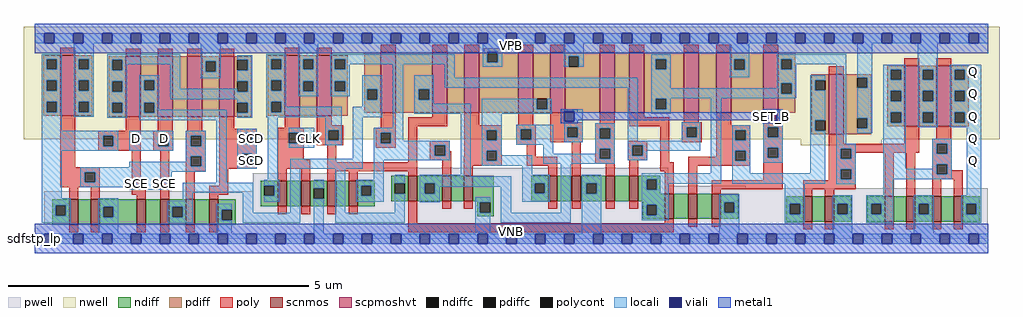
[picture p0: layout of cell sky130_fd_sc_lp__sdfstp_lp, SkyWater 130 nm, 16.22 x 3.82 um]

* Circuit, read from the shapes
.subckt sky130_fd_sc_lp__sdfstp_lp CLK D SCD SCE SET_B VGND VNB VPB VPWR Q
XM1 n1 SCE n2 VNB sky130_fd_pr__nfet_01v8 w=0.42 l=0.15
XM2 VGND SCE n1 VNB sky130_fd_pr__nfet_01v8 w=0.42 l=0.15
XM3 n3 n2 VGND VNB sky130_fd_pr__nfet_01v8 w=0.42 l=0.15
XM4 n4 D n3 VNB sky130_fd_pr__nfet_01v8 w=0.42 l=0.15
XM5 n5 SCE n4 VNB sky130_fd_pr__nfet_01v8 w=0.42 l=0.15
XM6 VGND SCD n5 VNB sky130_fd_pr__nfet_01v8 w=0.42 l=0.15
XM7 n6 CLK n7 VNB sky130_fd_pr__nfet_01v8 w=0.42 l=0.15
XM8 VGND CLK n6 VNB sky130_fd_pr__nfet_01v8 w=0.42 l=0.15
XM9 n8 n7 VGND VNB sky130_fd_pr__nfet_01v8 w=0.42 l=0.15
XM10 n9 n7 n8 VNB sky130_fd_pr__nfet_01v8 w=0.42 l=0.15
XM11 n10 n7 n4 VNB sky130_fd_pr__nfet_01v8 w=0.42 l=0.15
XM12 n11 n9 n10 VNB sky130_fd_pr__nfet_01v8 w=0.42 l=0.15
XM13 VGND n12 n11 VNB sky130_fd_pr__nfet_01v8 w=0.42 l=0.15
XM14 n13 n10 n12 VNB sky130_fd_pr__nfet_01v8 w=0.42 l=0.15
XM15 VGND SET_B n13 VNB sky130_fd_pr__nfet_01v8 w=0.42 l=0.15
XM16 n14 n10 VGND VNB sky130_fd_pr__nfet_01v8 w=0.42 l=0.15
XM17 n15 n9 n14 VNB sky130_fd_pr__nfet_01v8 w=0.42 l=0.15
XM18 n16 n7 n15 VNB sky130_fd_pr__nfet_01v8 w=0.42 l=0.15
XM19 n17 n18 n16 VNB sky130_fd_pr__nfet_01v8 w=0.42 l=0.15
XM20 VGND SET_B n17 VNB sky130_fd_pr__nfet_01v8 w=0.42 l=0.15
XM21 n19 n15 n18 VNB sky130_fd_pr__nfet_01v8 w=0.42 l=0.15
XM22 VGND n15 n19 VNB sky130_fd_pr__nfet_01v8 w=0.42 l=0.15
XM23 n20 n15 n21 VNB sky130_fd_pr__nfet_01v8 w=0.42 l=0.15
XM24 VGND n15 n20 VNB sky130_fd_pr__nfet_01v8 w=0.42 l=0.15
XM25 n22 n21 VGND VNB sky130_fd_pr__nfet_01v8 w=0.42 l=0.15
XM26 Q n21 n22 VNB sky130_fd_pr__nfet_01v8 w=0.42 l=0.15
XM27 VPWR SCE n2 VPB sky130_fd_pr__pfet_01v8_hvt w=1 l=0.25
XM28 n4 n2 n23 VPB sky130_fd_pr__pfet_01v8_hvt w=1 l=0.25
XM29 n24 D n4 VPB sky130_fd_pr__pfet_01v8_hvt w=1 l=0.25
XM30 VPWR SCE n24 VPB sky130_fd_pr__pfet_01v8_hvt w=1 l=0.25
XM31 n23 SCD VPWR VPB sky130_fd_pr__pfet_01v8_hvt w=1 l=0.25
XM32 VPWR CLK n7 VPB sky130_fd_pr__pfet_01v8_hvt w=1 l=0.25
XM33 n9 n7 VPWR VPB sky130_fd_pr__pfet_01v8_hvt w=1 l=0.25
XM34 n10 n9 n4 VPB sky130_fd_pr__pfet_01v8_hvt w=1 l=0.25
XM35 n25 n7 n10 VPB sky130_fd_pr__pfet_01v8_hvt w=1 l=0.25
XM36 VPWR n12 n25 VPB sky130_fd_pr__pfet_01v8_hvt w=1 l=0.25
XM37 n12 n10 VPWR VPB sky130_fd_pr__pfet_01v8_hvt w=1 l=0.25
XM38 VPWR SET_B n12 VPB sky130_fd_pr__pfet_01v8_hvt w=1 l=0.25
XM39 n26 n10 VPWR VPB sky130_fd_pr__pfet_01v8_hvt w=1 l=0.25
XM40 n15 n7 n26 VPB sky130_fd_pr__pfet_01v8_hvt w=1 l=0.25
XM41 n27 n9 n15 VPB sky130_fd_pr__pfet_01v8_hvt w=1 l=0.25
XM42 VPWR n18 n27 VPB sky130_fd_pr__pfet_01v8_hvt w=1 l=0.25
XM43 n15 SET_B VPWR VPB sky130_fd_pr__pfet_01v8_hvt w=1 l=0.25
XM44 VPWR n15 n18 VPB sky130_fd_pr__pfet_01v8_hvt w=1 l=0.25
XM45 VPWR n15 n21 VPB sky130_fd_pr__pfet_01v8_hvt w=1 l=0.25
XM46 Q n21 VPWR VPB sky130_fd_pr__pfet_01v8_hvt w=1 l=0.25
.ends

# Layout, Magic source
magic
tech sky130A
magscale 1 2
<< nwell >>
rect -38 331 3206 704
rect 2545 311 2815 331
<< pwell >>
rect 1158 218 2105 235
rect 724 176 2105 218
rect 724 167 2363 176
rect 724 157 3167 167
rect 31 49 3167 157
rect 0 0 3168 49
<< scnmos >>
rect 114 47 144 131
rect 186 47 216 131
rect 338 47 368 131
rect 416 47 446 131
rect 502 47 532 131
rect 580 47 610 131
rect 807 108 837 192
rect 885 108 915 192
rect 971 108 1001 192
rect 1043 108 1073 192
rect 1241 125 1271 209
rect 1353 125 1383 209
rect 1425 125 1455 209
rect 1706 125 1736 209
rect 1784 125 1814 209
rect 1898 125 1928 209
rect 1976 125 2006 209
rect 2094 66 2124 150
rect 2172 66 2202 150
rect 2250 66 2280 150
rect 2554 57 2584 141
rect 2626 57 2656 141
rect 2824 57 2854 141
rect 2896 57 2926 141
rect 2982 57 3012 141
rect 3054 57 3084 141
<< scpmoshvt >>
rect 84 409 134 609
rect 302 406 352 606
rect 408 406 458 606
rect 506 406 556 606
rect 612 406 662 606
rect 830 409 880 609
rect 936 409 986 609
rect 1149 419 1199 619
rect 1321 419 1371 619
rect 1427 419 1477 619
rect 1607 419 1657 619
rect 1713 419 1763 619
rect 1878 419 1928 619
rect 1976 419 2026 619
rect 2156 419 2206 619
rect 2264 419 2314 619
rect 2420 419 2470 619
rect 2638 347 2688 547
rect 2890 374 2940 574
rect 2996 374 3046 574
<< ndiff >>
rect 750 176 807 192
rect 750 142 762 176
rect 796 142 807 176
rect 57 111 114 131
rect 57 77 69 111
rect 103 77 114 111
rect 57 47 114 77
rect 144 47 186 131
rect 216 106 338 131
rect 216 72 227 106
rect 261 72 338 106
rect 216 47 338 72
rect 368 47 416 131
rect 446 106 502 131
rect 446 72 457 106
rect 491 72 502 106
rect 446 47 502 72
rect 532 47 580 131
rect 610 96 667 131
rect 750 108 807 142
rect 837 108 885 192
rect 915 167 971 192
rect 915 133 926 167
rect 960 133 971 167
rect 915 108 971 133
rect 1001 108 1043 192
rect 1073 176 1130 192
rect 1073 142 1084 176
rect 1118 142 1130 176
rect 1073 108 1130 142
rect 1184 184 1241 209
rect 1184 150 1196 184
rect 1230 150 1241 184
rect 1184 125 1241 150
rect 1271 184 1353 209
rect 1271 150 1295 184
rect 1329 150 1353 184
rect 1271 125 1353 150
rect 1383 125 1425 209
rect 1455 125 1525 209
rect 1649 185 1706 209
rect 1649 151 1661 185
rect 1695 151 1706 185
rect 1649 125 1706 151
rect 1736 125 1784 209
rect 1814 184 1898 209
rect 1814 150 1833 184
rect 1867 150 1898 184
rect 1814 125 1898 150
rect 1928 125 1976 209
rect 2006 197 2079 209
rect 2006 163 2033 197
rect 2067 163 2079 197
rect 2006 150 2079 163
rect 2006 125 2094 150
rect 610 62 621 96
rect 655 62 667 96
rect 610 47 667 62
rect 1470 121 1525 125
rect 1470 87 1479 121
rect 1513 87 1525 121
rect 2021 112 2094 125
rect 1470 75 1525 87
rect 2021 78 2033 112
rect 2067 78 2094 112
rect 2021 66 2094 78
rect 2124 66 2172 150
rect 2202 66 2250 150
rect 2280 121 2337 150
rect 2280 87 2291 121
rect 2325 87 2337 121
rect 2280 66 2337 87
rect 2497 116 2554 141
rect 2497 82 2509 116
rect 2543 82 2554 116
rect 2497 57 2554 82
rect 2584 57 2626 141
rect 2656 116 2713 141
rect 2656 82 2667 116
rect 2701 82 2713 116
rect 2656 57 2713 82
rect 2767 116 2824 141
rect 2767 82 2779 116
rect 2813 82 2824 116
rect 2767 57 2824 82
rect 2854 57 2896 141
rect 2926 116 2982 141
rect 2926 82 2937 116
rect 2971 82 2982 116
rect 2926 57 2982 82
rect 3012 57 3054 141
rect 3084 116 3141 141
rect 3084 82 3095 116
rect 3129 82 3141 116
rect 3084 57 3141 82
<< pdiff >>
rect 27 597 84 609
rect 27 563 39 597
rect 73 563 84 597
rect 27 526 84 563
rect 27 492 39 526
rect 73 492 84 526
rect 27 455 84 492
rect 27 421 39 455
rect 73 421 84 455
rect 27 409 84 421
rect 134 597 191 609
rect 1492 621 1550 633
rect 1492 619 1504 621
rect 134 563 145 597
rect 179 563 191 597
rect 134 526 191 563
rect 134 492 145 526
rect 179 492 191 526
rect 134 455 191 492
rect 134 421 145 455
rect 179 421 191 455
rect 134 409 191 421
rect 245 594 302 606
rect 245 560 257 594
rect 291 560 302 594
rect 245 523 302 560
rect 245 489 257 523
rect 291 489 302 523
rect 245 452 302 489
rect 245 418 257 452
rect 291 418 302 452
rect 245 406 302 418
rect 352 527 408 606
rect 352 493 363 527
rect 397 493 408 527
rect 352 452 408 493
rect 352 418 363 452
rect 397 418 408 452
rect 352 406 408 418
rect 458 406 506 606
rect 556 589 612 606
rect 556 555 567 589
rect 601 555 612 589
rect 556 406 612 555
rect 662 594 719 606
rect 662 560 673 594
rect 707 560 719 594
rect 662 523 719 560
rect 662 489 673 523
rect 707 489 719 523
rect 662 452 719 489
rect 662 418 673 452
rect 707 418 719 452
rect 662 406 719 418
rect 773 597 830 609
rect 773 563 785 597
rect 819 563 830 597
rect 773 526 830 563
rect 773 492 785 526
rect 819 492 830 526
rect 773 455 830 492
rect 773 421 785 455
rect 819 421 830 455
rect 773 409 830 421
rect 880 597 936 609
rect 880 563 891 597
rect 925 563 936 597
rect 880 524 936 563
rect 880 490 891 524
rect 925 490 936 524
rect 880 409 936 490
rect 986 597 1040 609
rect 986 563 997 597
rect 1031 563 1040 597
rect 986 524 1040 563
rect 986 490 997 524
rect 1031 490 1040 524
rect 986 409 1040 490
rect 1094 496 1149 619
rect 1094 462 1104 496
rect 1138 462 1149 496
rect 1094 419 1149 462
rect 1199 496 1321 619
rect 1199 462 1276 496
rect 1310 462 1321 496
rect 1199 419 1321 462
rect 1371 419 1427 619
rect 1477 587 1504 619
rect 1538 619 1550 621
rect 1538 587 1607 619
rect 1477 419 1607 587
rect 1657 465 1713 619
rect 1657 431 1668 465
rect 1702 431 1713 465
rect 1657 419 1713 431
rect 1763 606 1878 619
rect 1763 572 1774 606
rect 1808 572 1878 606
rect 1763 419 1878 572
rect 1928 419 1976 619
rect 2026 597 2156 619
rect 2026 563 2064 597
rect 2098 563 2156 597
rect 2026 465 2156 563
rect 2026 431 2064 465
rect 2098 431 2156 465
rect 2026 419 2156 431
rect 2206 419 2264 619
rect 2314 596 2420 619
rect 2314 562 2325 596
rect 2359 562 2420 596
rect 2314 419 2420 562
rect 2470 597 2527 619
rect 2470 563 2481 597
rect 2515 563 2527 597
rect 2470 516 2527 563
rect 2833 562 2890 574
rect 2470 482 2481 516
rect 2515 482 2527 516
rect 2470 419 2527 482
rect 2581 527 2638 547
rect 2581 493 2593 527
rect 2627 493 2638 527
rect 2581 393 2638 493
rect 2581 359 2593 393
rect 2627 359 2638 393
rect 2581 347 2638 359
rect 2688 535 2779 547
rect 2688 501 2733 535
rect 2767 501 2779 535
rect 2688 401 2779 501
rect 2688 367 2733 401
rect 2767 367 2779 401
rect 2833 528 2845 562
rect 2879 528 2890 562
rect 2833 491 2890 528
rect 2833 457 2845 491
rect 2879 457 2890 491
rect 2833 420 2890 457
rect 2833 386 2845 420
rect 2879 386 2890 420
rect 2833 374 2890 386
rect 2940 562 2996 574
rect 2940 528 2951 562
rect 2985 528 2996 562
rect 2940 491 2996 528
rect 2940 457 2951 491
rect 2985 457 2996 491
rect 2940 420 2996 457
rect 2940 386 2951 420
rect 2985 386 2996 420
rect 2940 374 2996 386
rect 3046 562 3103 574
rect 3046 528 3057 562
rect 3091 528 3103 562
rect 3046 491 3103 528
rect 3046 457 3057 491
rect 3091 457 3103 491
rect 3046 420 3103 457
rect 3046 386 3057 420
rect 3091 386 3103 420
rect 3046 374 3103 386
rect 2688 347 2779 367
<< ndiffc >>
rect 762 142 796 176
rect 69 77 103 111
rect 227 72 261 106
rect 457 72 491 106
rect 926 133 960 167
rect 1084 142 1118 176
rect 1196 150 1230 184
rect 1295 150 1329 184
rect 1661 151 1695 185
rect 1833 150 1867 184
rect 2033 163 2067 197
rect 621 62 655 96
rect 1479 87 1513 121
rect 2033 78 2067 112
rect 2291 87 2325 121
rect 2509 82 2543 116
rect 2667 82 2701 116
rect 2779 82 2813 116
rect 2937 82 2971 116
rect 3095 82 3129 116
<< pdiffc >>
rect 39 563 73 597
rect 39 492 73 526
rect 39 421 73 455
rect 145 563 179 597
rect 145 492 179 526
rect 145 421 179 455
rect 257 560 291 594
rect 257 489 291 523
rect 257 418 291 452
rect 363 493 397 527
rect 363 418 397 452
rect 567 555 601 589
rect 673 560 707 594
rect 673 489 707 523
rect 673 418 707 452
rect 785 563 819 597
rect 785 492 819 526
rect 785 421 819 455
rect 891 563 925 597
rect 891 490 925 524
rect 997 563 1031 597
rect 997 490 1031 524
rect 1104 462 1138 496
rect 1276 462 1310 496
rect 1504 587 1538 621
rect 1668 431 1702 465
rect 1774 572 1808 606
rect 2064 563 2098 597
rect 2064 431 2098 465
rect 2325 562 2359 596
rect 2481 563 2515 597
rect 2481 482 2515 516
rect 2593 493 2627 527
rect 2593 359 2627 393
rect 2733 501 2767 535
rect 2733 367 2767 401
rect 2845 528 2879 562
rect 2845 457 2879 491
rect 2845 386 2879 420
rect 2951 528 2985 562
rect 2951 457 2985 491
rect 2951 386 2985 420
rect 3057 528 3091 562
rect 3057 457 3091 491
rect 3057 386 3091 420
<< poly >>
rect 84 609 134 635
rect 302 606 352 632
rect 408 606 458 632
rect 506 606 556 632
rect 612 606 662 632
rect 830 609 880 635
rect 936 609 986 635
rect 1149 619 1199 645
rect 1321 619 1371 645
rect 1427 619 1477 645
rect 84 237 134 409
rect 1607 619 1657 645
rect 1713 619 1763 645
rect 1878 619 1928 645
rect 1976 619 2026 645
rect 2156 619 2206 645
rect 2264 619 2314 645
rect 2420 619 2470 645
rect 2890 574 2940 600
rect 2996 574 3046 600
rect 2638 547 2688 573
rect 302 358 352 406
rect 408 358 458 406
rect 506 358 556 406
rect 612 366 662 406
rect 830 368 880 409
rect 936 377 986 409
rect 211 342 352 358
rect 211 308 227 342
rect 261 308 352 342
rect 211 292 352 308
rect 394 342 460 358
rect 394 308 410 342
rect 444 308 460 342
rect 394 292 460 308
rect 502 342 568 358
rect 502 308 518 342
rect 552 308 568 342
rect 84 221 216 237
rect 84 187 166 221
rect 200 187 216 221
rect 84 171 216 187
rect 114 131 144 171
rect 186 131 216 171
rect 322 176 352 292
rect 322 146 368 176
rect 338 131 368 146
rect 416 131 446 292
rect 502 274 568 308
rect 502 240 518 274
rect 552 240 568 274
rect 502 224 568 240
rect 612 350 738 366
rect 612 316 688 350
rect 722 316 738 350
rect 612 282 738 316
rect 612 248 688 282
rect 722 248 738 282
rect 612 232 738 248
rect 807 352 894 368
rect 807 318 844 352
rect 878 318 894 352
rect 807 263 894 318
rect 936 361 1025 377
rect 1149 368 1199 419
rect 1321 404 1371 419
rect 936 327 975 361
rect 1009 327 1025 361
rect 936 311 1025 327
rect 1133 352 1199 368
rect 1133 318 1149 352
rect 1183 318 1199 352
rect 807 233 915 263
rect 502 131 532 224
rect 612 176 642 232
rect 807 192 837 233
rect 885 192 915 233
rect 971 254 1001 311
rect 1133 302 1199 318
rect 1241 374 1371 404
rect 1427 377 1477 419
rect 1607 379 1657 419
rect 1713 387 1763 419
rect 1241 254 1271 374
rect 1427 361 1551 377
rect 1427 327 1501 361
rect 1535 327 1551 361
rect 1313 310 1379 326
rect 1313 276 1329 310
rect 1363 290 1379 310
rect 1427 293 1551 327
rect 1599 363 1665 379
rect 1599 329 1615 363
rect 1649 329 1665 363
rect 1599 313 1665 329
rect 1713 371 1820 387
rect 1878 383 1928 419
rect 1713 337 1770 371
rect 1804 337 1820 371
rect 1713 321 1820 337
rect 1862 367 1928 383
rect 1976 404 2026 419
rect 1976 374 2108 404
rect 2156 387 2206 419
rect 1862 333 1878 367
rect 1912 333 1928 367
rect 1363 276 1383 290
rect 1313 260 1383 276
rect 1427 273 1501 293
rect 971 224 1271 254
rect 971 192 1001 224
rect 1043 192 1073 224
rect 1241 209 1271 224
rect 1353 209 1383 260
rect 1425 259 1501 273
rect 1535 259 1551 293
rect 1425 243 1551 259
rect 1635 273 1665 313
rect 1635 243 1736 273
rect 1425 209 1455 243
rect 1706 209 1736 243
rect 1784 209 1814 321
rect 1862 299 1928 333
rect 1862 265 1878 299
rect 1912 265 1928 299
rect 1862 249 1928 265
rect 1970 310 2036 326
rect 1970 276 1986 310
rect 2020 276 2036 310
rect 1970 260 2036 276
rect 1898 209 1928 249
rect 1976 209 2006 260
rect 2078 254 2108 374
rect 2150 371 2216 387
rect 2150 337 2166 371
rect 2200 337 2216 371
rect 2150 321 2216 337
rect 2264 377 2314 419
rect 2420 387 2470 419
rect 2264 361 2378 377
rect 2264 327 2328 361
rect 2362 327 2378 361
rect 2264 293 2378 327
rect 2264 273 2328 293
rect 2172 259 2328 273
rect 2362 259 2378 293
rect 2078 224 2124 254
rect 580 146 642 176
rect 580 131 610 146
rect 2094 150 2124 224
rect 2172 243 2378 259
rect 2420 371 2486 387
rect 2420 337 2436 371
rect 2470 337 2486 371
rect 2420 303 2486 337
rect 2420 269 2436 303
rect 2470 269 2486 303
rect 2172 150 2202 243
rect 2420 195 2486 269
rect 2638 315 2688 347
rect 2890 315 2940 374
rect 2996 332 3046 374
rect 2638 299 2940 315
rect 2638 265 2679 299
rect 2713 285 2940 299
rect 2982 316 3048 332
rect 2713 265 2729 285
rect 2638 231 2729 265
rect 2638 197 2679 231
rect 2713 197 2729 231
rect 2638 195 2729 197
rect 2250 165 2486 195
rect 2554 165 2729 195
rect 2250 150 2280 165
rect 807 82 837 108
rect 885 82 915 108
rect 971 82 1001 108
rect 1043 82 1073 108
rect 1241 51 1271 125
rect 1353 99 1383 125
rect 1425 99 1455 125
rect 1706 99 1736 125
rect 1784 99 1814 125
rect 1898 99 1928 125
rect 1976 99 2006 125
rect 2554 141 2584 165
rect 2626 141 2656 165
rect 2824 141 2854 285
rect 2896 141 2926 285
rect 2982 282 2998 316
rect 3032 282 3048 316
rect 2982 248 3048 282
rect 2982 214 2998 248
rect 3032 228 3048 248
rect 3032 214 3084 228
rect 2982 198 3084 214
rect 2982 141 3012 198
rect 3054 141 3084 198
rect 2094 51 2124 66
rect 114 21 144 47
rect 186 21 216 47
rect 338 21 368 47
rect 416 21 446 47
rect 502 21 532 47
rect 580 21 610 47
rect 1241 21 2124 51
rect 2172 40 2202 66
rect 2250 40 2280 66
rect 2554 31 2584 57
rect 2626 31 2656 57
rect 2824 31 2854 57
rect 2896 31 2926 57
rect 2982 31 3012 57
rect 3054 31 3084 57
<< polycont >>
rect 227 308 261 342
rect 410 308 444 342
rect 518 308 552 342
rect 166 187 200 221
rect 518 240 552 274
rect 688 316 722 350
rect 688 248 722 282
rect 844 318 878 352
rect 975 327 1009 361
rect 1149 318 1183 352
rect 1501 327 1535 361
rect 1329 276 1363 310
rect 1615 329 1649 363
rect 1770 337 1804 371
rect 1878 333 1912 367
rect 1501 259 1535 293
rect 1878 265 1912 299
rect 1986 276 2020 310
rect 2166 337 2200 371
rect 2328 327 2362 361
rect 2328 259 2362 293
rect 2436 337 2470 371
rect 2436 269 2470 303
rect 2679 265 2713 299
rect 2679 197 2713 231
rect 2998 282 3032 316
rect 2998 214 3032 248
<< locali >>
rect 0 649 31 683
rect 65 649 127 683
rect 161 649 223 683
rect 257 649 319 683
rect 353 649 415 683
rect 449 649 511 683
rect 545 649 607 683
rect 641 649 703 683
rect 737 649 799 683
rect 833 649 895 683
rect 929 649 991 683
rect 1025 649 1087 683
rect 1121 649 1183 683
rect 1217 649 1279 683
rect 1313 649 1375 683
rect 1409 649 1471 683
rect 1505 649 1567 683
rect 1601 649 1663 683
rect 1697 649 1759 683
rect 1793 649 1855 683
rect 1889 649 1951 683
rect 1985 649 2047 683
rect 2081 649 2143 683
rect 2177 649 2239 683
rect 2273 649 2335 683
rect 2369 649 2431 683
rect 2465 649 2527 683
rect 2561 649 2623 683
rect 2657 649 2719 683
rect 2753 649 2815 683
rect 2849 649 2911 683
rect 2945 649 3007 683
rect 3041 649 3103 683
rect 3137 649 3168 683
rect 23 597 89 613
rect 23 563 39 597
rect 73 563 89 597
rect 23 526 89 563
rect 23 492 39 526
rect 73 492 89 526
rect 23 455 89 492
rect 23 421 39 455
rect 73 421 89 455
rect 23 358 89 421
rect 129 597 195 649
rect 129 563 145 597
rect 179 563 195 597
rect 129 526 195 563
rect 129 492 145 526
rect 179 492 195 526
rect 129 455 195 492
rect 129 421 145 455
rect 179 421 195 455
rect 129 405 195 421
rect 241 594 483 613
rect 241 560 257 594
rect 291 579 483 594
rect 291 560 307 579
rect 241 523 307 560
rect 241 489 257 523
rect 291 489 307 523
rect 241 452 307 489
rect 241 418 257 452
rect 291 418 307 452
rect 241 402 307 418
rect 347 527 413 543
rect 347 493 363 527
rect 397 493 413 527
rect 347 452 413 493
rect 449 498 483 579
rect 551 589 617 649
rect 551 555 567 589
rect 601 555 617 589
rect 551 534 617 555
rect 673 594 723 610
rect 707 560 723 594
rect 673 523 723 560
rect 449 489 673 498
rect 707 489 723 523
rect 449 464 723 489
rect 347 418 363 452
rect 397 428 413 452
rect 673 452 723 464
rect 397 418 637 428
rect 347 394 637 418
rect 707 418 723 452
rect 673 402 723 418
rect 769 597 835 613
rect 769 563 785 597
rect 819 563 835 597
rect 769 526 835 563
rect 769 492 785 526
rect 819 492 835 526
rect 769 455 835 492
rect 875 597 941 649
rect 1488 621 1554 649
rect 875 563 891 597
rect 925 563 941 597
rect 875 524 941 563
rect 875 490 891 524
rect 925 490 941 524
rect 875 474 941 490
rect 981 597 1396 613
rect 981 563 997 597
rect 1031 579 1396 597
rect 1031 563 1047 579
rect 981 524 1047 563
rect 981 490 997 524
rect 1031 490 1047 524
rect 981 474 1047 490
rect 1088 496 1154 543
rect 769 421 785 455
rect 819 438 835 455
rect 1088 462 1104 496
rect 1138 462 1154 496
rect 1088 438 1154 462
rect 819 421 1020 438
rect 769 404 1020 421
rect 23 342 277 358
rect 23 308 227 342
rect 261 308 277 342
rect 23 292 277 308
rect 313 342 460 358
rect 313 308 410 342
rect 444 308 460 342
rect 313 292 460 308
rect 502 342 567 358
rect 502 308 518 342
rect 552 308 567 342
rect 23 135 89 292
rect 502 274 567 308
rect 502 256 518 274
rect 313 240 518 256
rect 552 240 567 274
rect 313 237 567 240
rect 150 222 567 237
rect 150 221 455 222
rect 150 187 166 221
rect 200 187 455 221
rect 150 171 455 187
rect 603 186 637 394
rect 673 350 737 366
rect 673 316 688 350
rect 722 316 737 350
rect 673 282 737 316
rect 673 248 688 282
rect 722 248 737 282
rect 673 232 737 248
rect 773 196 807 404
rect 843 352 929 368
rect 843 318 844 352
rect 878 318 929 352
rect 843 302 929 318
rect 965 361 1020 404
rect 965 327 975 361
rect 1009 327 1020 361
rect 965 311 1020 327
rect 1056 404 1154 438
rect 1056 266 1090 404
rect 1190 368 1224 579
rect 1260 496 1326 543
rect 1362 535 1396 579
rect 1488 587 1504 621
rect 1538 587 1554 621
rect 1488 571 1554 587
rect 1758 606 1824 649
rect 1758 572 1774 606
rect 1808 572 1824 606
rect 1758 571 1824 572
rect 2048 597 2114 613
rect 2048 563 2064 597
rect 2098 563 2114 597
rect 1362 501 2004 535
rect 1260 462 1276 496
rect 1310 462 1326 496
rect 1260 449 1326 462
rect 1260 415 1449 449
rect 848 232 1090 266
rect 1126 352 1224 368
rect 1126 318 1149 352
rect 1183 326 1224 352
rect 1183 318 1379 326
rect 1126 310 1379 318
rect 1126 276 1329 310
rect 1363 276 1379 310
rect 1126 260 1379 276
rect 313 162 455 171
rect 491 152 725 186
rect 23 111 119 135
rect 23 77 69 111
rect 103 77 119 111
rect 23 53 119 77
rect 211 106 277 135
rect 491 126 525 152
rect 211 72 227 106
rect 261 72 277 106
rect 211 17 277 72
rect 441 106 525 126
rect 441 72 457 106
rect 491 72 525 106
rect 441 53 525 72
rect 605 96 655 116
rect 605 62 621 96
rect 605 17 655 62
rect 691 87 725 152
rect 762 176 812 196
rect 796 142 812 176
rect 762 123 812 142
rect 848 87 882 232
rect 691 53 882 87
rect 926 167 960 196
rect 926 17 960 133
rect 998 87 1032 232
rect 1126 196 1160 260
rect 1415 213 1449 415
rect 1485 431 1668 465
rect 1702 431 1718 465
rect 1485 415 1718 431
rect 1759 424 1820 430
rect 1485 361 1551 415
rect 1793 390 1820 424
rect 1485 327 1501 361
rect 1535 327 1551 361
rect 1485 293 1551 327
rect 1599 363 1723 379
rect 1599 329 1615 363
rect 1649 329 1723 363
rect 1599 313 1723 329
rect 1759 371 1820 390
rect 1759 337 1770 371
rect 1804 337 1820 371
rect 1759 321 1820 337
rect 1862 367 1928 383
rect 1862 333 1878 367
rect 1912 333 1928 367
rect 1485 259 1501 293
rect 1535 277 1551 293
rect 1689 283 1723 313
rect 1862 299 1928 333
rect 1862 283 1878 299
rect 1535 259 1653 277
rect 1485 243 1653 259
rect 1689 265 1878 283
rect 1912 265 1928 299
rect 1689 249 1928 265
rect 1970 326 2004 501
rect 2048 500 2114 563
rect 2309 596 2375 649
rect 2309 562 2325 596
rect 2359 562 2375 596
rect 2309 536 2375 562
rect 2465 597 2697 613
rect 2465 563 2481 597
rect 2515 579 2697 597
rect 2515 563 2531 579
rect 2465 516 2531 563
rect 2465 500 2481 516
rect 2048 482 2481 500
rect 2515 482 2531 516
rect 2048 466 2531 482
rect 2577 527 2627 543
rect 2577 493 2593 527
rect 2048 465 2114 466
rect 2048 431 2064 465
rect 2098 431 2114 465
rect 2048 415 2114 431
rect 2150 371 2211 387
rect 2150 337 2166 371
rect 2200 337 2211 371
rect 2150 326 2211 337
rect 1970 310 2211 326
rect 1970 276 1986 310
rect 2020 292 2211 310
rect 2020 276 2036 292
rect 1970 260 2036 276
rect 1068 176 1160 196
rect 1068 142 1084 176
rect 1118 142 1160 176
rect 1068 123 1160 142
rect 1196 184 1230 213
rect 1196 87 1230 150
rect 1279 207 1449 213
rect 1619 213 1653 243
rect 1279 184 1583 207
rect 1279 150 1295 184
rect 1329 173 1583 184
rect 1329 150 1345 173
rect 1279 121 1345 150
rect 1463 121 1513 137
rect 998 53 1230 87
rect 1463 87 1479 121
rect 1463 17 1513 87
rect 1549 87 1583 173
rect 1619 185 1711 213
rect 1619 151 1661 185
rect 1695 151 1711 185
rect 1619 123 1711 151
rect 1747 87 1781 249
rect 2247 217 2281 466
rect 2420 424 2486 430
rect 2420 390 2431 424
rect 2465 390 2486 424
rect 1549 53 1781 87
rect 1817 184 1883 213
rect 1817 150 1833 184
rect 1867 150 1883 184
rect 1817 17 1883 150
rect 2017 197 2281 217
rect 2017 163 2033 197
rect 2067 183 2281 197
rect 2317 361 2378 377
rect 2317 327 2328 361
rect 2362 327 2378 361
rect 2317 293 2378 327
rect 2317 259 2328 293
rect 2362 259 2378 293
rect 2317 217 2378 259
rect 2420 371 2486 390
rect 2420 337 2436 371
rect 2470 337 2486 371
rect 2420 303 2486 337
rect 2420 269 2436 303
rect 2470 269 2486 303
rect 2420 253 2486 269
rect 2577 393 2627 493
rect 2577 359 2593 393
rect 2577 217 2627 359
rect 2317 183 2627 217
rect 2663 315 2697 579
rect 2733 535 2783 649
rect 2767 501 2783 535
rect 2733 401 2783 501
rect 2767 367 2783 401
rect 2733 351 2783 367
rect 2819 562 2895 578
rect 2819 528 2845 562
rect 2879 528 2895 562
rect 2819 491 2895 528
rect 2819 457 2845 491
rect 2879 457 2895 491
rect 2819 420 2895 457
rect 2819 386 2845 420
rect 2879 386 2895 420
rect 2663 299 2729 315
rect 2663 265 2679 299
rect 2713 265 2729 299
rect 2663 231 2729 265
rect 2663 197 2679 231
rect 2713 197 2729 231
rect 2067 163 2106 183
rect 2017 112 2106 163
rect 2017 78 2033 112
rect 2067 78 2106 112
rect 2017 62 2106 78
rect 2275 121 2341 147
rect 2275 87 2291 121
rect 2325 87 2341 121
rect 2275 17 2341 87
rect 2493 116 2559 183
rect 2663 181 2729 197
rect 2819 232 2895 386
rect 2935 562 3001 649
rect 2935 528 2951 562
rect 2985 528 3001 562
rect 2935 491 3001 528
rect 2935 457 2951 491
rect 2985 457 3001 491
rect 2935 420 3001 457
rect 2935 386 2951 420
rect 2985 386 3001 420
rect 2935 370 3001 386
rect 3041 562 3145 578
rect 3041 528 3057 562
rect 3091 528 3145 562
rect 3041 491 3145 528
rect 3041 457 3057 491
rect 3091 457 3145 491
rect 3041 420 3145 457
rect 3041 386 3057 420
rect 3091 386 3145 420
rect 3041 370 3145 386
rect 2982 316 3048 332
rect 2982 282 2998 316
rect 3032 282 3048 316
rect 2982 248 3048 282
rect 2982 232 2998 248
rect 2819 214 2998 232
rect 3032 214 3048 248
rect 2819 198 3048 214
rect 2819 145 2853 198
rect 3097 145 3145 370
rect 2493 82 2509 116
rect 2543 82 2559 116
rect 2493 53 2559 82
rect 2651 116 2717 145
rect 2651 82 2667 116
rect 2701 82 2717 116
rect 2651 17 2717 82
rect 2763 116 2853 145
rect 2763 82 2779 116
rect 2813 82 2853 116
rect 2763 53 2853 82
rect 2921 116 2987 145
rect 2921 82 2937 116
rect 2971 82 2987 116
rect 2921 17 2987 82
rect 3079 116 3145 145
rect 3079 82 3095 116
rect 3129 82 3145 116
rect 3079 53 3145 82
rect 0 -17 31 17
rect 65 -17 127 17
rect 161 -17 223 17
rect 257 -17 319 17
rect 353 -17 415 17
rect 449 -17 511 17
rect 545 -17 607 17
rect 641 -17 703 17
rect 737 -17 799 17
rect 833 -17 895 17
rect 929 -17 991 17
rect 1025 -17 1087 17
rect 1121 -17 1183 17
rect 1217 -17 1279 17
rect 1313 -17 1375 17
rect 1409 -17 1471 17
rect 1505 -17 1567 17
rect 1601 -17 1663 17
rect 1697 -17 1759 17
rect 1793 -17 1855 17
rect 1889 -17 1951 17
rect 1985 -17 2047 17
rect 2081 -17 2143 17
rect 2177 -17 2239 17
rect 2273 -17 2335 17
rect 2369 -17 2431 17
rect 2465 -17 2527 17
rect 2561 -17 2623 17
rect 2657 -17 2719 17
rect 2753 -17 2815 17
rect 2849 -17 2911 17
rect 2945 -17 3007 17
rect 3041 -17 3103 17
rect 3137 -17 3168 17
<< viali >>
rect 31 649 65 683
rect 127 649 161 683
rect 223 649 257 683
rect 319 649 353 683
rect 415 649 449 683
rect 511 649 545 683
rect 607 649 641 683
rect 703 649 737 683
rect 799 649 833 683
rect 895 649 929 683
rect 991 649 1025 683
rect 1087 649 1121 683
rect 1183 649 1217 683
rect 1279 649 1313 683
rect 1375 649 1409 683
rect 1471 649 1505 683
rect 1567 649 1601 683
rect 1663 649 1697 683
rect 1759 649 1793 683
rect 1855 649 1889 683
rect 1951 649 1985 683
rect 2047 649 2081 683
rect 2143 649 2177 683
rect 2239 649 2273 683
rect 2335 649 2369 683
rect 2431 649 2465 683
rect 2527 649 2561 683
rect 2623 649 2657 683
rect 2719 649 2753 683
rect 2815 649 2849 683
rect 2911 649 2945 683
rect 3007 649 3041 683
rect 3103 649 3137 683
rect 1759 390 1793 424
rect 2431 390 2465 424
rect 31 -17 65 17
rect 127 -17 161 17
rect 223 -17 257 17
rect 319 -17 353 17
rect 415 -17 449 17
rect 511 -17 545 17
rect 607 -17 641 17
rect 703 -17 737 17
rect 799 -17 833 17
rect 895 -17 929 17
rect 991 -17 1025 17
rect 1087 -17 1121 17
rect 1183 -17 1217 17
rect 1279 -17 1313 17
rect 1375 -17 1409 17
rect 1471 -17 1505 17
rect 1567 -17 1601 17
rect 1663 -17 1697 17
rect 1759 -17 1793 17
rect 1855 -17 1889 17
rect 1951 -17 1985 17
rect 2047 -17 2081 17
rect 2143 -17 2177 17
rect 2239 -17 2273 17
rect 2335 -17 2369 17
rect 2431 -17 2465 17
rect 2527 -17 2561 17
rect 2623 -17 2657 17
rect 2719 -17 2753 17
rect 2815 -17 2849 17
rect 2911 -17 2945 17
rect 3007 -17 3041 17
rect 3103 -17 3137 17
<< metal1 >>
rect 0 683 3168 715
rect 0 649 31 683
rect 65 649 127 683
rect 161 649 223 683
rect 257 649 319 683
rect 353 649 415 683
rect 449 649 511 683
rect 545 649 607 683
rect 641 649 703 683
rect 737 649 799 683
rect 833 649 895 683
rect 929 649 991 683
rect 1025 649 1087 683
rect 1121 649 1183 683
rect 1217 649 1279 683
rect 1313 649 1375 683
rect 1409 649 1471 683
rect 1505 649 1567 683
rect 1601 649 1663 683
rect 1697 649 1759 683
rect 1793 649 1855 683
rect 1889 649 1951 683
rect 1985 649 2047 683
rect 2081 649 2143 683
rect 2177 649 2239 683
rect 2273 649 2335 683
rect 2369 649 2431 683
rect 2465 649 2527 683
rect 2561 649 2623 683
rect 2657 649 2719 683
rect 2753 649 2815 683
rect 2849 649 2911 683
rect 2945 649 3007 683
rect 3041 649 3103 683
rect 3137 649 3168 683
rect 0 617 3168 649
rect 1747 424 1805 430
rect 1747 390 1759 424
rect 1793 421 1805 424
rect 2419 424 2477 430
rect 2419 421 2431 424
rect 1793 393 2431 421
rect 1793 390 1805 393
rect 1747 384 1805 390
rect 2419 390 2431 393
rect 2465 390 2477 424
rect 2419 384 2477 390
rect 0 17 3168 49
rect 0 -17 31 17
rect 65 -17 127 17
rect 161 -17 223 17
rect 257 -17 319 17
rect 353 -17 415 17
rect 449 -17 511 17
rect 545 -17 607 17
rect 641 -17 703 17
rect 737 -17 799 17
rect 833 -17 895 17
rect 929 -17 991 17
rect 1025 -17 1087 17
rect 1121 -17 1183 17
rect 1217 -17 1279 17
rect 1313 -17 1375 17
rect 1409 -17 1471 17
rect 1505 -17 1567 17
rect 1601 -17 1663 17
rect 1697 -17 1759 17
rect 1793 -17 1855 17
rect 1889 -17 1951 17
rect 1985 -17 2047 17
rect 2081 -17 2143 17
rect 2177 -17 2239 17
rect 2273 -17 2335 17
rect 2369 -17 2431 17
rect 2465 -17 2527 17
rect 2561 -17 2623 17
rect 2657 -17 2719 17
rect 2753 -17 2815 17
rect 2849 -17 2911 17
rect 2945 -17 3007 17
rect 3041 -17 3103 17
rect 3137 -17 3168 17
rect 0 -49 3168 -17
<< labels >>
flabel pwell s 0 0 3168 49 0 FreeSans 200 0 0 0 VNB
port 7 nsew ground bidirectional
flabel nwell s 0 617 3168 666 0 FreeSans 200 0 0 0 VPB
port 8 nsew power bidirectional
rlabel comment s 0 0 0 0 4 sdfstp_lp
flabel metal1 s 2431 390 2465 424 0 FreeSans 340 0 0 0 SET_B
port 5 nsew signal input
flabel metal1 s 0 617 3168 666 0 FreeSans 340 0 0 0 VPWR
port 9 nsew power bidirectional
flabel metal1 s 0 0 3168 49 0 FreeSans 340 0 0 0 VGND
port 6 nsew ground bidirectional
flabel locali s 319 316 353 350 0 FreeSans 340 0 0 0 D
port 2 nsew signal input
flabel locali s 415 316 449 350 0 FreeSans 340 0 0 0 D
port 2 nsew signal input
flabel locali s 703 242 737 276 0 FreeSans 340 0 0 0 SCD
port 3 nsew signal input
flabel locali s 703 316 737 350 0 FreeSans 340 0 0 0 SCD
port 3 nsew signal input
flabel locali s 895 316 929 350 0 FreeSans 340 0 0 0 CLK
port 1 nsew clock input
flabel locali s 319 168 353 202 0 FreeSans 340 0 0 0 SCE
port 4 nsew signal input
flabel locali s 415 168 449 202 0 FreeSans 340 0 0 0 SCE
port 4 nsew signal input
flabel locali s 3103 242 3137 276 0 FreeSans 340 0 0 0 Q
port 10 nsew signal output
flabel locali s 3103 316 3137 350 0 FreeSans 340 0 0 0 Q
port 10 nsew signal output
flabel locali s 3103 390 3137 424 0 FreeSans 340 0 0 0 Q
port 10 nsew signal output
flabel locali s 3103 464 3137 498 0 FreeSans 340 0 0 0 Q
port 10 nsew signal output
flabel locali s 3103 538 3137 572 0 FreeSans 340 0 0 0 Q
port 10 nsew signal output
<< properties >>
string LEFsite unit
string LEFclass CORE
string FIXED_BBOX 0 0 3168 666
string GDS_FILE $PDKPATH/libs.ref/sky130_fd_sc_lp/gds/sky130_fd_sc_lp.gds
string LEFsymmetry X Y R90
string GDS_END 173800
string GDS_START 152836
<< end >>
